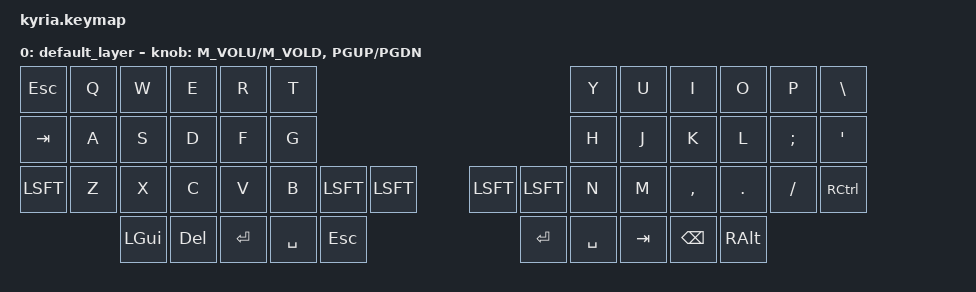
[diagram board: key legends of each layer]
#include <behaviors.dtsi>
#include <dt-bindings/zmk/keys.h>

/ {
    keymap {
        compatible = "zmk,keymap";

        default_layer {
// ---------------------------------------------------------------------------------------------------------------------------------
// |  ESC  |  Q  |  W  |  E   |  R   |  T   |                                          |  Y   |  U    |  I    |  O   |   P   |   \  |
// |  TAB  |  A  |  S  |  D   |  F   |  G   |                                          |  H   |  J    |  K    |  L   |   ;   |   '  |
// | SHIFT |  Z  |  X  |  C   |  V   |  B   | L SHIFT | L SHIFT |  | L SHIFT | L SHIFT |  N   |  M    |  ,    |  .   |   /   | CTRL |
//                     | GUI  | DEL  | RET  |  SPACE  |   ESC   |  |   RET   |  SPACE  | TAB  | BSPC  | R-ALT |
            bindings = <
    &kp ESC  &kp Q &kp W &kp E &kp R &kp T                                            &kp Y &kp U  &kp I    &kp O   &kp P    &kp BSLH
    &kp TAB  &kp A &kp S &kp D &kp F &kp G                                            &kp H &kp J  &kp K    &kp L   &kp SCLN &kp QUOT
    &kp LSFT &kp Z &kp X &kp C &kp V &kp B &kp LSFT &kp LSFT        &kp LSFT &kp LSFT &kp N &kp M  &kp CMMA &kp DOT &kp FSLH &kp RCTL
                  &kp LGUI &kp DEL &kp RET &kp SPC &kp ESC            &kp RET  &kp SPC  &kp TAB &kp BKSP &kp RALT
            >;

            sensor-bindings = <&inc_dec_cp M_VOLU M_VOLD &inc_dec_kp PGUP PGDN>;
        };
    };
};
